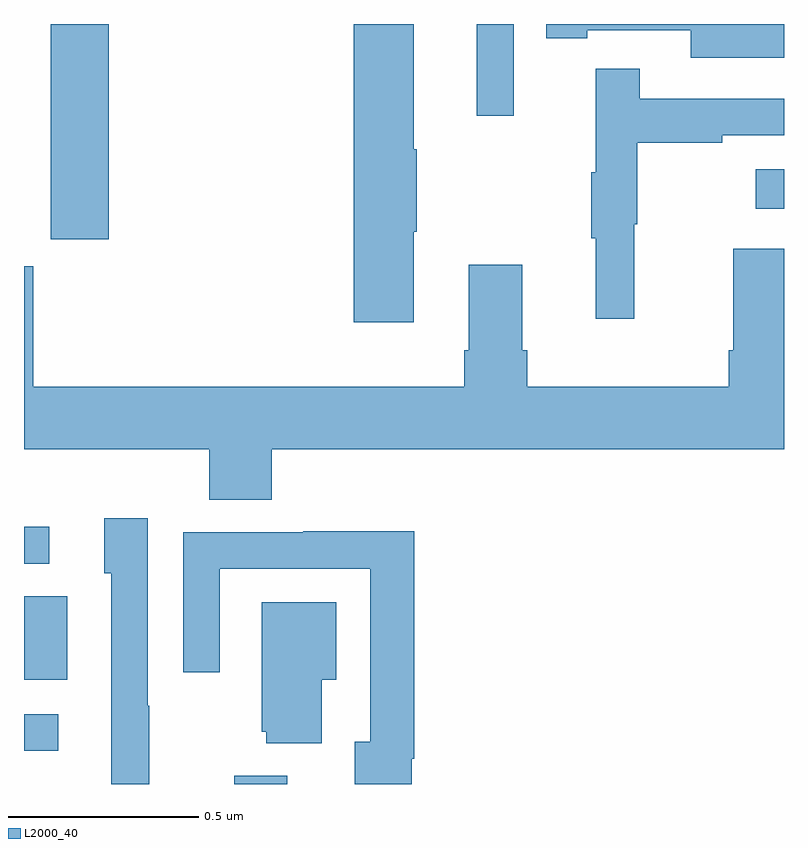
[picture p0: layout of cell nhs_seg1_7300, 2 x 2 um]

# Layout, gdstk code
import gdstk
lib = gdstk.Library(unit=1e-6, precision=1e-09)
def R(c, l, rs):  # rectangles x0, y0, x1, y1
    for r in rs: c.add(gdstk.rectangle(r[:2], r[2:], *l))
def P(c, l, *ps):  # polygons
    for p in ps: c.add(gdstk.Polygon(p, *l))
L2000_40 = (2000, 40)

nhs_seg1_7300 = lib.new_cell('nhs_seg1_7300')
R(nhs_seg1_7300, L2000_40, [(202.553,536.199,202.693,536.221), (202,536.286,202.09,536.382), (202,536.474,202.114,536.693), (202,536.778,202.066,536.876), (202.07,537.633,202.223,538.199), (203.925,537.713,204,537.817), (203.192,537.957,203.289,538.199)])
P(nhs_seg1_7300, L2000_40, [(204,538.199),(203.374,538.199),(203.374,538.162),(203.482,538.162),(203.482,538.182),(203.754,538.182),(203.754,538.11),(204,538.11)],
  [(203.026,537.652),(203.034,537.652),(203.034,537.869),(203.026,537.869),(203.026,538.199),(202.868,538.199),(202.868,537.414),(203.026,537.414)],
  [(203.606,537.672),(203.614,537.672),(203.614,537.886),(203.837,537.886),(203.837,537.906),(204,537.906),(204,538.002),(203.621,538.002),(203.621,538.081),(203.504,538.081),(203.504,537.809),(203.493,537.809),(203.493,537.635),(203.504,537.635),(203.504,537.423),(203.606,537.423)],
  [(202.652,537.08),(204,537.08),(204,537.607),(203.867,537.607),(203.867,537.34),(203.855,537.34),(203.855,537.244),(203.324,537.244),(203.324,537.34),(203.311,537.34),(203.311,537.565),(203.171,537.565),(203.171,537.34),(203.159,537.34),(203.159,537.244),(202.024,537.244),(202.024,537.561),(202,537.561),(202,537.08),(202.487,537.08),(202.487,536.947),(202.652,536.947)],
  [(202.329,536.405),(202.326,536.405),(202.326,536.899),(202.211,536.899),(202.211,536.754),(202.23,536.754),(202.23,536.199),(202.329,536.199)],
  [(203.02,536.266),(203.027,536.266),(203.027,536.864),(202.735,536.864),(202.735,536.862),(202.419,536.862),(202.419,536.493),(202.515,536.493),(202.515,536.766),(202.911,536.766),(202.911,536.31),(202.871,536.31),(202.871,536.199),(203.02,536.199)],
  [(202.783,536.474),(202.822,536.474),(202.822,536.677),(202.625,536.677),(202.625,536.337),(202.637,536.337),(202.637,536.306),(202.783,536.306)])

lib.write_gds('nhs_seg1_7300.gds')
